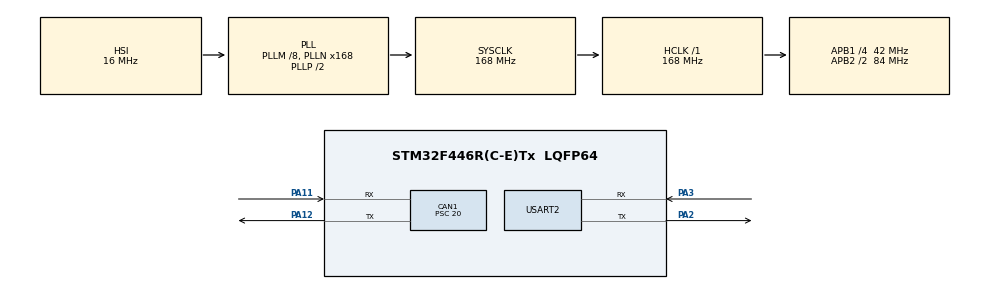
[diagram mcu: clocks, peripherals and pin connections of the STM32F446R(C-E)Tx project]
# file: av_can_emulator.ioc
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CAN1.BS1=CAN_BS1_12TQ
CAN1.BS2=CAN_BS2_8TQ
CAN1.CalculateBaudRate=100000
CAN1.CalculateTimeBit=10000
CAN1.CalculateTimeQuantum=476.1904761904762
CAN1.Mode=CAN_MODE_NORMAL
CAN1.Prescaler=20
Mcu.Family=STM32F4
Mcu.Name=STM32F446R(C-E)Tx
Mcu.Package=LQFP64
NVIC.CAN1_RX0_IRQn=true\:0\:0\:false\:false\:true\:true\:true\:true
NVIC.CAN1_RX1_IRQn=true\:0\:0\:false\:false\:true\:true\:true\:true
NVIC.PriorityGroup=NVIC_PRIORITYGROUP_0
PA11.Mode=CAN_Activate
PA11.Signal=CAN1_RX
PA12.Mode=CAN_Activate
PA12.Signal=CAN1_TX
PA2.Mode=Asynchronous
PA2.Signal=USART2_TX
PA3.Mode=Asynchronous
PA3.Signal=USART2_RX
PH0-OSC_IN.Mode=HSE-External-Oscillator
PH0-OSC_IN.Signal=RCC_OSC_IN
PH1-OSC_OUT.Mode=HSE-External-Oscillator
PH1-OSC_OUT.Signal=RCC_OSC_OUT
ProjectManager.HeapSize=0x200
ProjectManager.StackSize=0x400
ProjectManager.TargetToolchain=STM32CubeIDE
RCC.48MHZClocksFreq_Value=84000000
RCC.AHBFreq_Value=168000000
RCC.APB1CLKDivider=RCC_HCLK_DIV4
RCC.APB1Freq_Value=42000000
RCC.APB1TimFreq_Value=84000000
RCC.APB2CLKDivider=RCC_HCLK_DIV2
RCC.APB2Freq_Value=84000000
RCC.APB2TimFreq_Value=168000000
RCC.CortexFreq_Value=168000000
RCC.FLatency-AdvancedSettings=FLASH_LATENCY_5
RCC.HCLKFreq_Value=168000000
RCC.HSE_VALUE=8000000
RCC.HSI_VALUE=16000000
RCC.PLLM=8
RCC.PLLN=168
RCC.SYSCLKFreq_VALUE=168000000
RCC.SYSCLKSource=RCC_SYSCLKSOURCE_PLLCLK
RCC.USBFreq_Value=168000000
RCC.VCOOutputFreq_Value=336000000
USART2.VirtualMode=VM_ASYNC
board=NUCLEO-F446RE

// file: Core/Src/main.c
/* USER CODE BEGIN Header */
/**
  ******************************************************************************
  * @file           : main.c
  * @brief          : Main program body
  ******************************************************************************
  * @attention
  *
  * Copyright (c) 2024 STMicroelectronics.
  * All rights reserved.
  *
  * This software is licensed under terms that can be found in the LICENSE file
  * in the root directory of this software component.
  * If no LICENSE file comes with this software, it is provided AS-IS.
  *
  ******************************************************************************
  */
/* USER CODE END Header */
#include "main.h"

/* USER CODE BEGIN Includes */
#include "serial_monitor.h"
#include "CAN_bus.h"
/* USER CODE END Includes */

CAN_HandleTypeDef hcan1;

UART_HandleTypeDef huart2;

/* USER CODE BEGIN PV */
CAN_TxHeaderTypeDef Tx_header;
CAN_RxHeaderTypeDef Rx_header;

uint32_t Tx_mailbox;

uint8_t Tx_data[8];
uint8_t Rx_data[8];

uint8_t count;

/* USER CODE END PV */

void SystemClock_Config(void);
static void MX_GPIO_Init(void);
static void MX_CAN1_Init(void);
static void MX_USART2_UART_Init(void);

/* USER CODE BEGIN 0 */
uint32_t TxMailbox;

void HAL_CAN_RxFifo1MsgPendingCallback(CAN_HandleTypeDef *hcan1)
{
	CAN_RxHeaderTypeDef RxHeader;
	uint8_t RxData[8];
	printf("| AV -------------------------------\r\n");
	while (HAL_CAN_GetRxFifoFillLevel(hcan1, CAN_RX_FIFO1) > 0)
	{
		HAL_CAN_GetRxMessage(hcan1, CAN_RX_FIFO1, &RxHeader, RxData);
		switch (RxHeader.StdId)
		{
		case 0x200:
			union CAN_msg_1_u msg1;
			memcpy(&msg1, RxData, sizeof(RxData));
			printf("| Received message 1. ok: %d, sampling state: %d, temperature control state: %d, target temp: %d, current temp: %d, battery voltage: %d\r\n",
					msg1.msg.ok,
					msg1.msg.sampling_state,
					msg1.msg.temp_ctrl_state,
					msg1.msg.target_temp,
					msg1.msg.current_temp,
					msg1.msg.battery_voltage);
			break;
		case 0x201:
			union CAN_msg_2_u msg2;
			memcpy(&msg2, RxData, sizeof(RxData));
			printf("| Received message 2. x frequency: %d, y frequency: %d, z frequency: %d, x amplitude: %d\r\n",
					msg2.msg.frqX,
					msg2.msg.frqY,
					msg2.msg.frqZ,
					msg2.msg.ampX);
			break;
		case 0x202:
			union CAN_msg_3_u msg3;
			memcpy(&msg3, RxData, sizeof(RxData));
			printf("| Received message 3. y amplitude: %d, z amplitude: %d, time: %ld\r\n",
					msg3.msg.ampY,
					msg3.msg.ampZ,
					msg3.msg.time_elapsed);
			break;
		}
	}
	printf("| ----------------------------------\r\n\r\n");
}

/* USER CODE END 0 */

int main(void)
{

  /* MCU Configuration--------------------------------------------------------*/

  /* Reset of all peripherals, Initializes the Flash interface and the Systick. */
  HAL_Init();

  /* Configure the system clock */
  SystemClock_Config();

  /* Initialize all configured peripherals */
  MX_GPIO_Init();
  MX_CAN1_Init();
  MX_USART2_UART_Init();
  /* USER CODE BEGIN 2 */

  printf("\r\n\r\n\r\nInitializing...\r\n");
  if (HAL_CAN_Start(&hcan1) != HAL_OK)
  {
	  Error_Handler();
  }

  if (HAL_CAN_ActivateNotification(&hcan1, CAN_IT_RX_FIFO1_MSG_PENDING) != HAL_OK)
  {
	  printf("activate notification error\r\n");
	  Error_Handler();
  }
  int count = 0;

  /* USER CODE END 2 */

  /* Infinite loop */
  /* USER CODE BEGIN WHILE */
  while (1)
  {
		CAN_TxHeaderTypeDef TxHeader;

		TxHeader.DLC = 1;
		TxHeader.IDE = CAN_ID_STD;
		TxHeader.RTR = CAN_RTR_DATA;
		TxHeader.TransmitGlobalTime = DISABLE;

		uint8_t TxData[8];

		switch (count)
		{
		case 0:
			TxHeader.StdId = RESET_PAYLOAD;
			break;
		case 1:
			TxHeader.StdId = TOGGLE_SAMPLING;
			TxData[0] = 1;
			break;
		case 2:
			TxHeader.StdId = TOGGLE_SAMPLING;
			TxData[0] = 0;
			break;
		case 3:
			TxHeader.StdId = TOGGLE_COOLER;
			TxData[0] = 1;
			break;
		case 4:
			TxHeader.StdId = TOGGLE_COOLER;
			TxData[0] = 0;
			break;
		case 5:
			TxHeader.StdId = LANDED;
			break;
		case 6:
			TxHeader.StdId = SET_TEMPERATURE;
			TxData[0] = 0;
			break;
		case 7:
			TxHeader.StdId = SET_TEMPERATURE;
			TxData[0] = 1;
			break;
		case 8:
			TxHeader.StdId = SET_TEMPERATURE;
			TxData[0] = 2;
			break;
		case 9:
			TxHeader.StdId = SET_TEMPERATURE;
			TxData[0] = 3;
			break;
		case 10:
			TxHeader.StdId = SET_TEMPERATURE;
			TxData[0] = 4;
			break;
		case 11:
			TxHeader.StdId = SET_TEMPERATURE;
			TxData[0] = 5;
			break;
		case 12:
			TxHeader.StdId = SET_TEMPERATURE;
			TxData[0] = 6;
			break;
		case 13:
			TxHeader.StdId = SET_TEMPERATURE;
			TxData[0] = 7;
			break;
		case 14:
			TxHeader.StdId = TOGGLE_LAUNCH_MODE;
			TxData[0] = 0;
			break;
		case 15:
			TxHeader.StdId = TOGGLE_LAUNCH_MODE;
			TxData[0] = 1;
			break;
		}

		HAL_Delay(1000);

		if (HAL_CAN_AddTxMessage(&hcan1, &TxHeader, TxData, &TxMailbox) != HAL_OK)
		{
			printf("can bus add tx message error\r\n");
			Error_Handler();
		}

		printf("message sent\r\n");
		count++;
		count %= 16;

    /* USER CODE END WHILE */

  }
}

void SystemClock_Config(void)
{
  RCC_OscInitTypeDef RCC_OscInitStruct = {0};
  RCC_ClkInitTypeDef RCC_ClkInitStruct = {0};

  /** Configure the main internal regulator output voltage
  */
  __HAL_RCC_PWR_CLK_ENABLE();
  __HAL_PWR_VOLTAGESCALING_CONFIG(PWR_REGULATOR_VOLTAGE_SCALE1);

  /** Initializes the RCC Oscillators according to the specified parameters
  * in the RCC_OscInitTypeDef structure.
  */
  RCC_OscInitStruct.OscillatorType = RCC_OSCILLATORTYPE_HSI;
  RCC_OscInitStruct.HSIState = RCC_HSI_ON;
  RCC_OscInitStruct.HSICalibrationValue = RCC_HSICALIBRATION_DEFAULT;
  RCC_OscInitStruct.PLL.PLLState = RCC_PLL_ON;
  RCC_OscInitStruct.PLL.PLLSource = RCC_PLLSOURCE_HSI;
  RCC_OscInitStruct.PLL.PLLM = 8;
  RCC_OscInitStruct.PLL.PLLN = 168;
  RCC_OscInitStruct.PLL.PLLP = RCC_PLLP_DIV2;
  RCC_OscInitStruct.PLL.PLLQ = 2;
  RCC_OscInitStruct.PLL.PLLR = 2;
  if (HAL_RCC_OscConfig(&RCC_OscInitStruct) != HAL_OK)
  {
    Error_Handler();
  }

  /** Initializes the CPU, AHB and APB buses clocks
  */
  RCC_ClkInitStruct.ClockType = RCC_CLOCKTYPE_HCLK|RCC_CLOCKTYPE_SYSCLK
                              |RCC_CLOCKTYPE_PCLK1|RCC_CLOCKTYPE_PCLK2;
  RCC_ClkInitStruct.SYSCLKSource = RCC_SYSCLKSOURCE_PLLCLK;
  RCC_ClkInitStruct.AHBCLKDivider = RCC_SYSCLK_DIV1;
  RCC_ClkInitStruct.APB1CLKDivider = RCC_HCLK_DIV4;
  RCC_ClkInitStruct.APB2CLKDivider = RCC_HCLK_DIV2;

  if (HAL_RCC_ClockConfig(&RCC_ClkInitStruct, FLASH_LATENCY_5) != HAL_OK)
  {
    Error_Handler();
  }
}

static void MX_CAN1_Init(void)
{

  hcan1.Instance = CAN1;
  hcan1.Init.Prescaler = 20;
  hcan1.Init.Mode = CAN_MODE_NORMAL;
  hcan1.Init.SyncJumpWidth = CAN_SJW_1TQ;
  hcan1.Init.TimeSeg1 = CAN_BS1_12TQ;
  hcan1.Init.TimeSeg2 = CAN_BS2_8TQ;
  hcan1.Init.TimeTriggeredMode = DISABLE;
  hcan1.Init.AutoBusOff = DISABLE;
  hcan1.Init.AutoWakeUp = DISABLE;
  hcan1.Init.AutoRetransmission = DISABLE;
  hcan1.Init.ReceiveFifoLocked = DISABLE;
  hcan1.Init.TransmitFifoPriority = DISABLE;
  if (HAL_CAN_Init(&hcan1) != HAL_OK)
  {
    Error_Handler();
  }
  /* USER CODE BEGIN CAN1_Init 2 */
  CAN_FilterTypeDef canfilterconfig;

       canfilterconfig.FilterActivation = CAN_FILTER_ENABLE;
       canfilterconfig.FilterBank = 10;  // anything between 0 to SlaveStartFilterBank
       canfilterconfig.FilterFIFOAssignment = CAN_RX_FIFO1;
       canfilterconfig.FilterIdHigh = 0x200 << 5;
       canfilterconfig.FilterIdLow = 0x0000;
       canfilterconfig.FilterMaskIdHigh = 0xFFFF << 5;
       canfilterconfig.FilterMaskIdLow = 0x0000;
       canfilterconfig.FilterMode = CAN_FILTERMODE_IDMASK;
       canfilterconfig.FilterScale = CAN_FILTERSCALE_32BIT;
       canfilterconfig.SlaveStartFilterBank = 13;  // 13 to 27 are assigned to slave CAN (CAN 2) OR 0 to 12 are assgned to CAN1

       HAL_CAN_ConfigFilter(&hcan1, &canfilterconfig);

       canfilterconfig.FilterActivation = CAN_FILTER_ENABLE;
       canfilterconfig.FilterBank = 11;  // anything between 0 to SlaveStartFilterBank
       canfilterconfig.FilterFIFOAssignment = CAN_RX_FIFO1;
       canfilterconfig.FilterIdHigh = 0x201 << 5;
       canfilterconfig.FilterIdLow = 0x0000;
       canfilterconfig.FilterMaskIdHigh = 0xFFFF << 5;
       canfilterconfig.FilterMaskIdLow = 0x0000;
       canfilterconfig.FilterMode = CAN_FILTERMODE_IDMASK;
       canfilterconfig.FilterScale = CAN_FILTERSCALE_32BIT;
       canfilterconfig.SlaveStartFilterBank = 13;  // 13 to 27 are assigned to slave CAN (CAN 2) OR 0 to 12 are assgned to CAN1

       HAL_CAN_ConfigFilter(&hcan1, &canfilterconfig);

       canfilterconfig.FilterActivation = CAN_FILTER_ENABLE;
       canfilterconfig.FilterBank = 12;  // anything between 0 to SlaveStartFilterBank
       canfilterconfig.FilterFIFOAssignment = CAN_RX_FIFO1;
       canfilterconfig.FilterIdHigh = 0x202 << 5;
       canfilterconfig.FilterIdLow = 0x0000;
       canfilterconfig.FilterMaskIdHigh = 0xFFFF << 5;
       canfilterconfig.FilterMaskIdLow = 0x0000;
       canfilterconfig.FilterMode = CAN_FILTERMODE_IDMASK;
       canfilterconfig.FilterScale = CAN_FILTERSCALE_32BIT;
       canfilterconfig.SlaveStartFilterBank = 13;  // 13 to 27 are assigned to slave CAN (CAN 2) OR 0 to 12 are assgned to CAN1

       HAL_CAN_ConfigFilter(&hcan1, &canfilterconfig);

  /* USER CODE END CAN1_Init 2 */

}

static void MX_USART2_UART_Init(void)
{

  huart2.Instance = USART2;
  huart2.Init.BaudRate = 115200;
  huart2.Init.WordLength = UART_WORDLENGTH_8B;
  huart2.Init.StopBits = UART_STOPBITS_1;
  huart2.Init.Parity = UART_PARITY_NONE;
  huart2.Init.Mode = UART_MODE_TX_RX;
  huart2.Init.HwFlowCtl = UART_HWCONTROL_NONE;
  huart2.Init.OverSampling = UART_OVERSAMPLING_16;
  if (HAL_UART_Init(&huart2) != HAL_OK)
  {
    Error_Handler();
  }

}

static void MX_GPIO_Init(void)
{

  /* GPIO Ports Clock Enable */
  __HAL_RCC_GPIOH_CLK_ENABLE();
  __HAL_RCC_GPIOA_CLK_ENABLE();

}

/* USER CODE BEGIN 4 */
void HAL_CAN_RxFifo0MsgPendingCallback(CAN_HandleTypeDef *hcan)
{
	printf("Received\r\n");
}

/* USER CODE END 4 */

void Error_Handler(void)
{
  /* USER CODE BEGIN Error_Handler_Debug */
  /* User can add his own implementation to report the HAL error return state */
  __disable_irq();
  printf("Error\r\n");
  while (1)
  {
  }
  /* USER CODE END Error_Handler_Debug */
}
